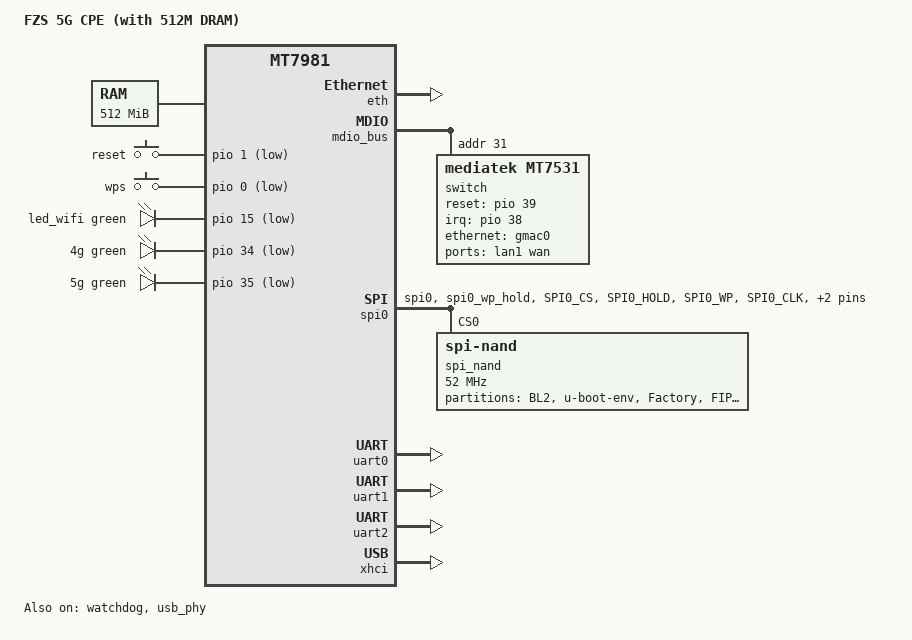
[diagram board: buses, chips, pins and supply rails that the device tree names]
// SPDX-License-Identifier: GPL-2.0-or-later OR MIT

/dts-v1/;
#include "mt7981.dtsi"

/ {
	model = "FZS 5G CPE (with 512M DRAM)";
	compatible = "fzs,5gcpe-512m", "mediatek,mt7981";

	aliases {
		led-boot = &led_wifi;
		led-failsafe = &led_wifi;
		led-running = &led_wifi;
		led-upgrade = &led_wifi;
		serial0 = &uart0;
	};

	chosen: chosen {
		stdout-path = "serial0:115200n8";
	};
	memory {
		reg = <0 0x40000000 0 0x20000000>;
	};

	gpio-keys {
		compatible = "gpio-keys";

		button-reset {
			label = "reset";
			linux,code = <KEY_RESTART>;
			gpios = <&pio 1 GPIO_ACTIVE_LOW>;
		};

		button-wps {
			label = "wps";
			linux,code = <KEY_WPS_BUTTON>;
			linux,input-type = <EV_SW>;
			gpios = <&pio 0 GPIO_ACTIVE_LOW>;
		};
	};

	gpio-leds {
		compatible = "gpio-leds";

		led_wifi: led-0 {
		        function = LED_FUNCTION_STATUS;
		        color = <LED_COLOR_ID_GREEN>;
			gpios = <&pio 15 GPIO_ACTIVE_LOW>;
			linux,default-trigger = "phy1tpt";
		};

        	4g {
			function = LED_FUNCTION_STATUS;
			color = <LED_COLOR_ID_GREEN>;
			gpios = <&pio 34 GPIO_ACTIVE_LOW>;
		};

		5g {
			function = LED_FUNCTION_STATUS;
			color = <LED_COLOR_ID_GREEN>;
			gpios = <&pio 35 GPIO_ACTIVE_LOW>;
		};
	};
};

&eth {
	status = "okay";

	gmac0: mac@0 {
		compatible = "mediatek,eth-mac";
		reg = <0>;
		phy-mode = "2500base-x";

		fixed-link {
			speed = <2500>;
			full-duplex;
			pause;
		};
	};
};

&mdio_bus {
	switch: switch@1f {
		compatible = "mediatek,mt7531";
		reg = <31>;
		reset-gpios = <&pio 39 GPIO_ACTIVE_HIGH>;
		interrupt-controller;
		#interrupt-cells = <1>;
		interrupt-parent = <&pio>;
		interrupts = <38 IRQ_TYPE_LEVEL_HIGH>;
	};
};

&switch {
	ports {
		#address-cells = <1>;
		#size-cells = <0>;

		port@1 {
			reg = <1>;
			label = "lan1";
		};
		
		port@3 {
			reg = <3>;
			label = "wan";
		};

		port@6 {
			reg = <6>;
			ethernet = <&gmac0>;
			phy-mode = "2500base-x";

			fixed-link {
				speed = <2500>;
				full-duplex;
				pause;
			};
		};
	};
};

&spi0 {
	pinctrl-names = "default";
	pinctrl-0 = <&spi0_flash_pins>;
	status = "okay";

	spi_nand@0 {
		compatible = "spi-nand";
		#address-cells = <1>;
		#size-cells = <1>;
		reg = <0>;

		spi-max-frequency = <52000000>;
		spi-tx-bus-width = <4>;
		spi-rx-bus-width = <4>;

		mediatek,nmbm;
                mediatek,bmt-max-ratio = <1>;
                mediatek,bmt-max-reserved-blocks = <64>;

		partitions {
			compatible = "fixed-partitions";
			#address-cells = <1>;
			#size-cells = <1>;

			partition@0 {
				label = "BL2";
				reg = <0x00000 0x100000>;
			};

			partition@100000 {
				label = "u-boot-env";
				reg = <0x100000 0x80000>;
			};

			factory: partition@180000 {
				label = "Factory";
				reg = <0x180000 0x200000>;
			};

			partition@380000 {
				label = "FIP";
				reg = <0x380000 0x200000>;
			};

			partition@580000 {
				label = "ubi";
				reg = <0x580000 0x7000000>;
			};
		};
	};
};
&pio {
	spi0_flash_pins: spi0-pins {
		mux {
			function = "spi";
			groups = "spi0", "spi0_wp_hold";
		};

		conf-pu {
			pins = "SPI0_CS", "SPI0_HOLD", "SPI0_WP";
			drive-strength = <8>;
			bias-pull-up = <103>;
		};

		conf-pd {
			pins = "SPI0_CLK", "SPI0_MOSI", "SPI0_MISO";
			drive-strength = <8>;
			bias-pull-down = <103>;
		};
	};

	uart1_pins: uart1-pins {
		mux {
			function = "uart";
			groups = "uart1_1";
		};
	};

	uart2_pins: uart2-pins {
		mux {
			function = "uart";
			groups = "uart2_1";
		};
	};
};

&uart0 {
	status = "okay";
};

&uart1 {
	status = "okay";
};

&uart2 {
	status = "okay";
};

&xhci {
	status = "okay";
};

&watchdog {
	status = "okay";
};

&usb_phy {
	status = "okay";
};
